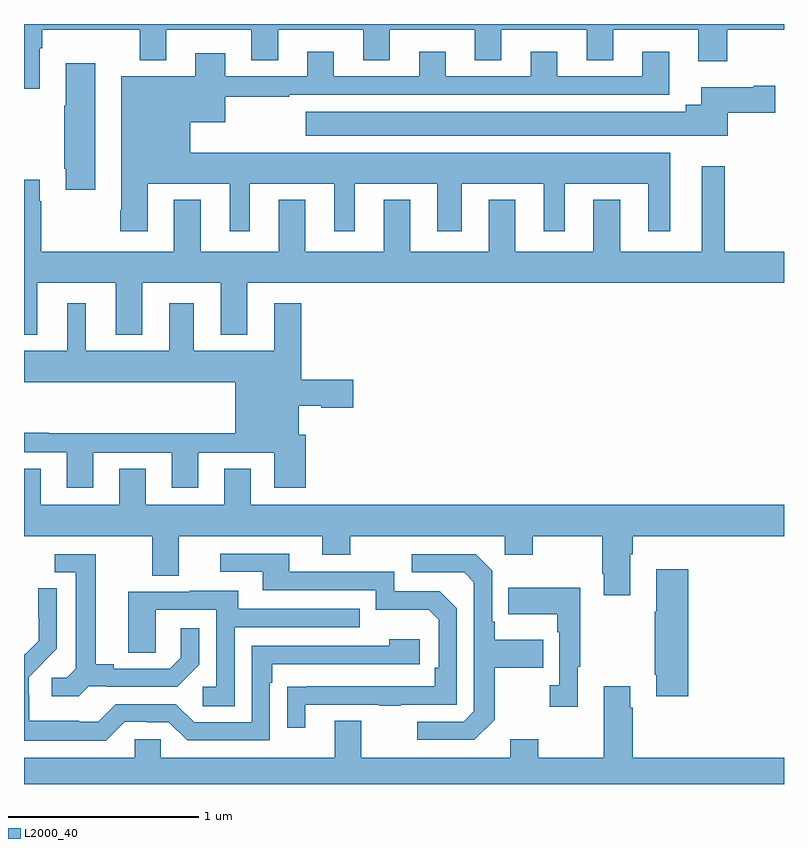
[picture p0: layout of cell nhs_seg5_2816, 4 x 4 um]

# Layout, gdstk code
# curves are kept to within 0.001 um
import gdstk
lib = gdstk.Library(unit=1e-6, precision=1e-09)
def P(c, l, *ps):  # polygons
    for p in ps: c.add(gdstk.Polygon(p, *l))
L2000_40 = (2000, 40)

nhs_seg5_2816 = lib.new_cell('nhs_seg5_2816')
P(nhs_seg5_2816, L2000_40, [(275.083,848.672),(275.096,848.672),(275.096,848.768),(275.609,848.768),(275.609,848.609),(275.749,848.609),(275.749,848.768),(276.197,848.768),(276.197,848.608),(276.337,848.608),(276.337,848.768),(276.785,848.768),(276.785,848.608),(276.925,848.608),(276.925,848.768),(277.373,848.768),(277.373,848.608),(277.513,848.608),(277.513,848.768),(277.961,848.768),(277.961,848.608),(278.101,848.608),(278.101,848.768),(278.549,848.768),(278.549,848.604),(278.702,848.604),(278.702,848.768),(279,848.768),(279,848.799),(275,848.799),(275,848.457),(275.083,848.457)],
  [(275.65,847.958),(276.083,847.958),(276.083,847.707),(276.187,847.707),(276.187,847.958),(276.632,847.958),(276.632,847.707),(276.742,847.707),(276.742,847.958),(277.175,847.958),(277.175,847.707),(277.303,847.707),(277.303,847.958),(277.736,847.958),(277.736,847.707),(277.846,847.707),(277.846,847.958),(278.285,847.958),(278.285,847.707),(278.401,847.707),(278.401,848.122),(275.875,848.122),(275.875,848.282),(276.058,848.282),(276.058,848.415),(276.395,848.415),(276.395,848.427),(278.395,848.427),(278.395,848.653),(278.255,848.653),(278.255,848.523),(277.807,848.523),(277.807,848.653),(277.667,848.653),(277.667,848.523),(277.219,848.523),(277.219,848.653),(277.079,848.653),(277.079,848.523),(276.631,848.523),(276.631,848.653),(276.491,848.653),(276.491,848.523),(276.058,848.523),(276.058,848.644),(275.9,848.644),(275.9,848.524),(275.513,848.524),(275.513,847.819),(275.506,847.819),(275.506,847.707),(275.65,847.707)],
  [(275.374,848.593),(275.219,848.593),(275.219,848.369),(275.212,848.369),(275.212,848.038),(275.219,848.038),(275.219,847.926),(275.374,847.926)],
  [(278.704,848.333),(278.953,848.333),(278.953,848.475),(278.84,848.475),(278.84,848.467),(278.564,848.467),(278.564,848.374),(278.483,848.374),(278.483,848.338),(276.483,848.338),(276.483,848.21),(278.704,848.21)],
  [(275.071,847.436),(275.483,847.436),(275.483,847.163),(275.623,847.163),(275.623,847.436),(276.035,847.436),(276.035,847.163),(276.175,847.163),(276.175,847.436),(279,847.436),(279,847.6),(278.689,847.6),(278.689,848.05),(278.567,848.05),(278.567,847.6),(278.137,847.6),(278.137,847.873),(277.997,847.873),(277.997,847.6),(277.585,847.6),(277.585,847.873),(277.445,847.873),(277.445,847.6),(277.033,847.6),(277.033,847.873),(276.893,847.873),(276.893,847.6),(276.481,847.6),(276.481,847.873),(276.341,847.873),(276.341,847.6),(275.929,847.6),(275.929,847.873),(275.789,847.873),(275.789,847.6),(275.091,847.6),(275.091,847.865),(275.083,847.865),(275.083,847.978),(275,847.978),(275,847.163),(275.071,847.163)],
  [(275.365,846.543),(275.777,846.543),(275.777,846.357),(275.917,846.357),(275.917,846.543),(276.317,846.543),(276.317,846.357),(276.482,846.357),(276.482,846.636),(276.445,846.636),(276.445,846.791),(276.565,846.791),(276.565,846.779),(276.733,846.779),(276.733,846.926),(276.458,846.926),(276.458,847.33),(276.317,847.33),(276.317,847.078),(275.893,847.078),(275.893,847.33),(275.765,847.33),(275.765,847.078),(275.326,847.078),(275.326,847.33),(275.228,847.33),(275.228,847.078),(275,847.078),(275,846.914),(276.113,846.914),(276.113,846.644),(275.129,846.644),(275.129,846.647),(275,846.647),(275,846.546),(275.225,846.546),(275.225,846.357),(275.365,846.357)],
  [(278.191,846.008),(278.204,846.008),(278.204,846.104),(279,846.104),(279,846.268),(276.193,846.268),(276.193,846.458),(276.053,846.458),(276.053,846.268),(275.641,846.268),(275.641,846.458),(275.501,846.458),(275.501,846.268),(275.089,846.268),(275.089,846.458),(275,846.458),(275,846.104),(275.675,846.104),(275.675,845.896),(275.815,845.896),(275.815,846.104),(276.569,846.104),(276.569,846.005),(276.717,846.005),(276.717,846.104),(277.53,846.104),(277.53,846.005),(277.677,846.005),(277.677,846.104),(278.044,846.104),(278.044,845.905),(278.051,845.905),(278.051,845.793),(278.191,845.793)],
  [(276.481,845.217),(276.871,845.217),(276.871,845.212),(276.983,845.212),(276.983,845.217),(277.278,845.217),(277.278,845.724),(277.188,845.814),(276.948,845.814),(276.948,845.916),(276.397,845.916),(276.397,846.012),(276.033,846.012),(276.033,845.916),(276.257,845.916),(276.257,845.82),(276.852,845.82),(276.852,845.717),(277.129,845.717),(277.182,845.664),(277.182,845.41),(277.162,845.41),(277.162,845.313),(276.385,845.312),(276.385,845.094),(276.481,845.094)],
  [(275.34,845.313),(275.434,845.313),(275.434,845.31),(275.806,845.31),(275.922,845.426),(275.922,845.62),(275.825,845.62),(275.825,845.463),(275.768,845.406),(275.473,845.406),(275.473,845.429),(275.377,845.429),(275.377,846.009),(275.163,846.009),(275.163,845.913),(275.273,845.913),(275.273,845.405),(275.226,845.358),(275.145,845.358),(275.145,845.261),(275.288,845.261)],
  [(277.477,845.137),(277.477,845.41),(277.733,845.41),(277.733,845.557),(277.477,845.557),(277.477,845.653),(277.464,845.653),(277.464,845.922),(277.377,846.009),(277.041,846.009),(277.041,845.913),(277.317,845.913),(277.368,845.862),(277.368,845.181),(277.314,845.127),(277.071,845.127),(277.071,845.031),(277.371,845.031)],
  [(278.495,845.929),(278.327,845.929),(278.327,845.705),(278.32,845.705),(278.32,845.374),(278.327,845.374),(278.327,845.262),(278.495,845.262)],
  [(277.915,845.417),(277.927,845.417),(277.927,845.833),(277.549,845.833),(277.549,845.693),(277.806,845.693),(277.806,845.597),(277.818,845.597),(277.818,845.318),(277.767,845.318),(277.767,845.205),(277.915,845.205)],
  [(275.529,845.127),(275.645,845.127),(275.645,845.124),(275.763,845.124),(275.859,845.028),(276.294,845.028),(276.294,845.333),(276.307,845.333),(276.307,845.43),(277.084,845.43),(277.084,845.56),(276.923,845.56),(276.923,845.526),(276.198,845.526),(276.198,845.124),(275.895,845.124),(275.799,845.22),(275.484,845.22),(275.391,845.127),(275.291,845.127),(275.291,845.131),(275.028,845.131),(275.028,845.265),(275.026,845.265),(275.026,845.362),(275.172,845.51),(275.172,845.828),(275.076,845.828),(275.076,845.674),(275.078,845.674),(275.078,845.552),(275.007,845.481),(275.004,845.484),(275,845.48),(275,845.027),(275.429,845.027)],
  [(276.108,845.625),(276.767,845.625),(276.767,845.721),(276.127,845.721),(276.127,845.815),(275.873,845.815),(275.873,845.811),(275.549,845.811),(275.549,845.491),(275.694,845.491),(275.694,845.715),(276.012,845.715),(276.012,845.31),(275.94,845.31),(275.94,845.209),(276.108,845.209)],
  [(279,844.936),(278.204,844.936),(278.204,845.201),(278.191,845.201),(278.191,845.314),(278.051,845.314),(278.051,844.936),(277.707,844.936),(277.707,845.035),(277.559,845.035),(277.559,844.936),(276.775,844.936),(276.775,845.131),(276.635,845.131),(276.635,844.936),(275.721,844.936),(275.721,845.034),(275.583,845.034),(275.583,844.936),(275,844.936),(275,844.799),(279,844.799)])

lib.write_gds('nhs_seg5_2816.gds')
